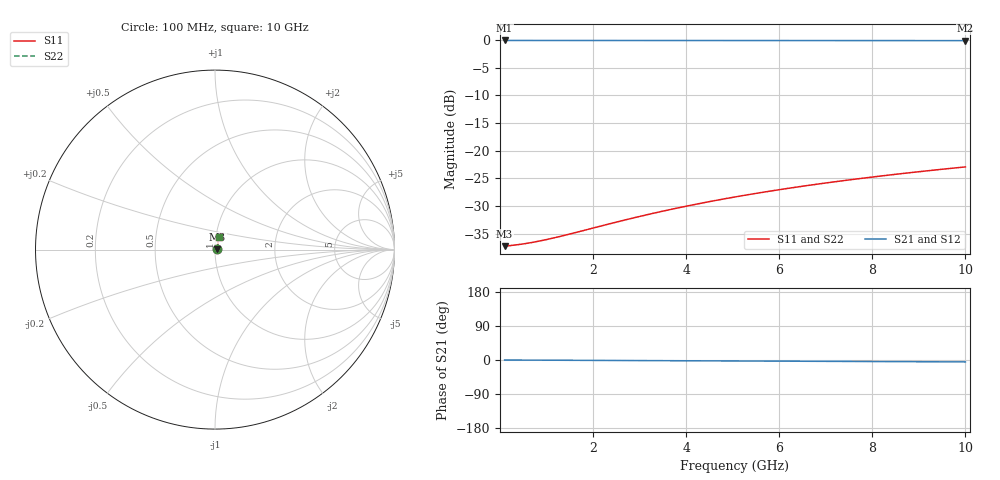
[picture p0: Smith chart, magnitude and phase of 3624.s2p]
# Hz S RI R 50.00
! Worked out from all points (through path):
!   100 points, 100 MHz to 10 GHz, reference 50 ohm
!   highest |S21| = -0.12 dB at 100 MHz (marker M1); lowest = -0.2 dB at 10 GHz (marker M2)
!   lowest |S11| = -37.2 dB at 100 MHz (marker M3), VSWR 1.03, Z = 51.4 + j0.0707 ohm
!   |S11| at or under -10 dB: start of sweep to end of sweep
!   |S22| runs from -37.2 to -22.9 dB; largest |S21 - S12| = 0
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1e8  0.0137 0.000688  0.9863 -0.000873  0.9863 -0.000873  0.0137 0.000688
3e8  0.0139 0.00206  0.9861 -0.00262  0.9861 -0.00262  0.0139 0.00206
5e8  0.014 0.00344  0.986 -0.00436  0.986 -0.00436  0.014 0.00344
8e8  0.0141 0.0055  0.9859 -0.00698  0.9859 -0.00698  0.0141 0.0055
1e9  0.0142 0.00687  0.9858 -0.00872  0.9858 -0.00872  0.0142 0.00687
1.2e9  0.0143 0.00824  0.9857 -0.0105  0.9857 -0.0105  0.0143 0.00824
1.5e9  0.0144 0.0103  0.9856 -0.0131  0.9856 -0.0131  0.0144 0.0103
1.8e9  0.0145 0.0124  0.9855 -0.0157  0.9855 -0.0157  0.0145 0.0124
2.7e9  0.0149 0.0185  0.9851 -0.0235  0.9851 -0.0235  0.0149 0.0185
3.1e9  0.0151 0.0213  0.9849 -0.027  0.9849 -0.027  0.0151 0.0213
3.4e9  0.0152 0.0233  0.9848 -0.0296  0.9848 -0.0296  0.0152 0.0233
3.8e9  0.0154 0.0261  0.9845 -0.0331  0.9845 -0.0331  0.0154 0.0261
4.2e9  0.0156 0.0288  0.9843 -0.0366  0.9843 -0.0366  0.0156 0.0288
4.6e9  0.0159 0.0315  0.9841 -0.0401  0.9841 -0.0401  0.0159 0.0315
5.1e9  0.0162 0.0349  0.9837 -0.0444  0.9837 -0.0444  0.0162 0.0349
5.5e9  0.0165 0.0377  0.9834 -0.0479  0.9834 -0.0479  0.0165 0.0377
5.9e9  0.0168 0.0404  0.9831 -0.0513  0.9831 -0.0513  0.0168 0.0404
6.7e9  0.0175 0.0458  0.9824 -0.0583  0.9824 -0.0583  0.0175 0.0458
7.5e9  0.0182 0.0513  0.9817 -0.0652  0.9817 -0.0652  0.0182 0.0513
8.4e9  0.0191 0.0574  0.9807 -0.073  0.9807 -0.073  0.0191 0.0574
9.2e9  0.02 0.0628  0.9798 -0.0798  0.9798 -0.0798  0.02 0.0628
1e10  0.021 0.0682  0.9788 -0.0867  0.9788 -0.0867  0.021 0.0682
